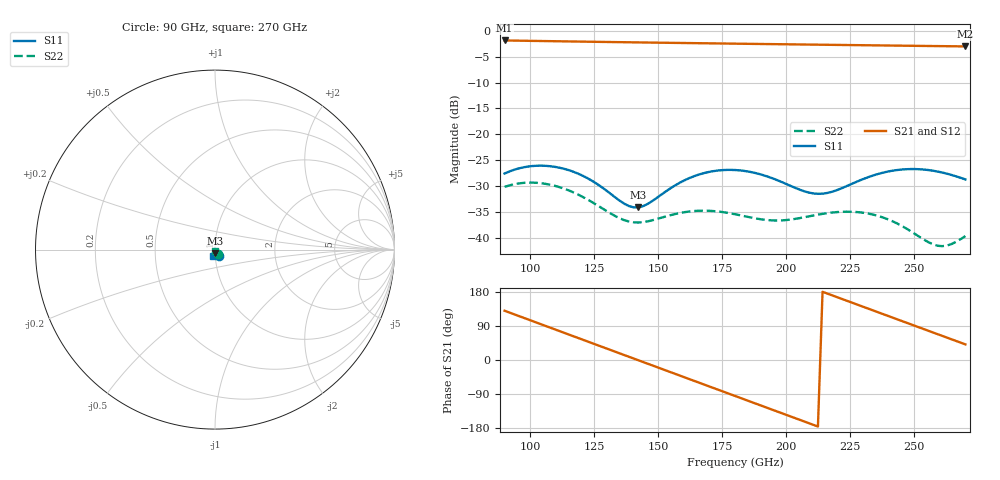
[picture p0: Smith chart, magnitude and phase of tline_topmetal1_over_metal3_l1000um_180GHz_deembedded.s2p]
! Created with skrf 2.0.1 (http://scikit-rf.org).
# GHz S DB R 50.0
!freq dBS11 angS11 dBS21 angS21 dBS12 angS12 dBS22 angS22
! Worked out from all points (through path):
!   101 points, 90 GHz to 270 GHz, reference 50 ohm
!   highest |S21| = -1.86 dB at 90 GHz (marker M1); lowest = -3.0 dB at 270 GHz (marker M2)
!   group delay of S21, straight-line fit = 6.92 ps
!   lowest |S11| = -34.1 dB at 142.2 GHz (marker M3), VSWR 1.04, Z = 50.1 - j1.96 ohm
!   |S11| at or under -10 dB: start of sweep to end of sweep
!   |S22| runs from -41.6 to -29.3 dB; largest |S21 - S12| = 1.2e-13
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90  -27.60 -55.1  -1.86 130.0  -1.86 130.0  -30.18 -54.4
97.2  -26.41 -67.1  -1.91 111.9  -1.91 111.9  -29.41 -65.8
104.4  -26.08 -80.0  -1.97 93.9  -1.97 93.9  -29.47 -78.0
111.6  -26.48 -92.4  -2.02 75.9  -2.02 75.9  -30.25 -89.4
120.6  -28.04 -105.3  -2.09 53.4  -2.09 53.4  -32.13 -100.3
131.4  -31.51 -109.9  -2.16 26.4  -2.16 26.4  -35.31 -102.0
142.2  -34.14 -85.1  -2.24 -0.6  -2.24 -0.6  -37.06 -86.7
151.2  -31.68 -66.3  -2.29 -23.0  -2.29 -23.0  -36.14 -77.7
165.6  -27.84 -73.3  -2.39 -58.9  -2.39 -58.9  -34.80 -83.1
172.8  -27.04 -82.4  -2.43 -76.9  -2.43 -76.9  -34.91 -88.5
180  -26.91 -91.8  -2.48 -94.9  -2.48 -94.9  -35.46 -92.4
187.2  -27.41 -100.2  -2.52 -112.8  -2.52 -112.8  -36.19 -93.2
194.4  -28.47 -106.0  -2.57 -130.7  -2.57 -130.7  -36.66 -90.8
203.4  -30.34 -105.8  -2.62 -153.1  -2.62 -153.1  -36.37 -87.3
210.6  -31.44 -97.0  -2.66 -171.1  -2.66 -171.1  -35.71 -88.2
217.8  -31.13 -85.2  -2.71 171.0  -2.71 171.0  -35.15 -92.9
225  -29.73 -79.0  -2.75 153.1  -2.75 153.1  -34.98 -100.2
234  -27.96 -80.8  -2.80 130.7  -2.80 130.7  -35.55 -110.7
241.2  -27.07 -86.4  -2.84 112.8  -2.84 112.8  -36.75 -117.9
250.2  -26.73 -95.2  -2.90 90.4  -2.90 90.4  -39.24 -120.3
259.2  -27.21 -103.2  -2.95 68.0  -2.95 68.0  -41.56 -105.6
270  -28.73 -107.3  -3.01 41.2  -3.01 41.2  -39.69 -83.3
